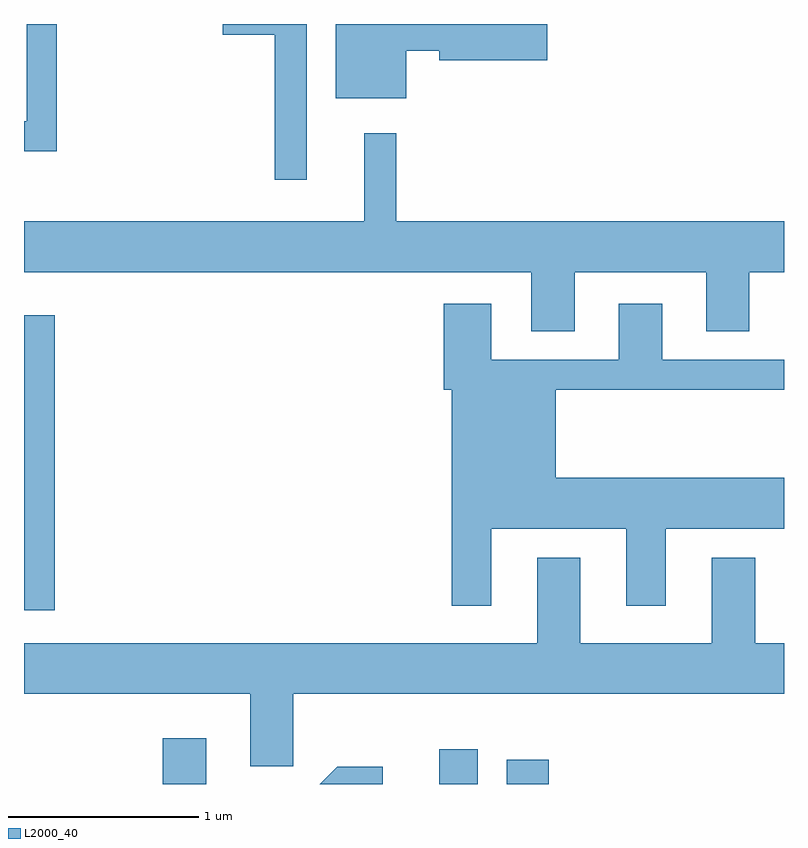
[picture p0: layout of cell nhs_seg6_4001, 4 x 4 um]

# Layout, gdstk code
import gdstk
lib = gdstk.Library(unit=1e-6, precision=1e-09)
def R(c, l, rs):  # rectangles x0, y0, x1, y1
    for r in rs: c.add(gdstk.rectangle(r[:2], r[2:], *l))
def P(c, l, *ps):  # polygons
    for p in ps: c.add(gdstk.Polygon(p, *l))
L2000_40 = (2000, 40)

nhs_seg6_4001 = lib.new_cell('nhs_seg6_4001')
R(nhs_seg6_4001, L2000_40, [(306.341,1616.162,306.569,1616.404), (307.796,1616.162,307.999,1616.344), (308.151,1616.162,308.374,1616.289), (305.611,1617.076,305.774,1618.629)])
P(nhs_seg6_4001, L2000_40, [(307.099,1620.162),(306.656,1620.162),(306.656,1620.106),(306.931,1620.106),(306.931,1619.343),(307.099,1619.343)],
  [(307.624,1620.021),(307.796,1620.021),(307.796,1619.971),(308.364,1619.971),(308.364,1620.162),(307.251,1620.162),(307.251,1619.771),(307.624,1619.771)],
  [(305.784,1620.162),(305.626,1620.162),(305.626,1619.649),(305.611,1619.649),(305.611,1619.491),(305.784,1619.491)],
  [(308.509,1618.856),(309.201,1618.856),(309.201,1618.546),(309.429,1618.546),(309.429,1618.856),(309.611,1618.856),(309.611,1619.124),(307.569,1619.124),(307.569,1619.588),(307.401,1619.588),(307.401,1619.124),(305.611,1619.124),(305.611,1618.856),(308.281,1618.856),(308.281,1618.546),(308.509,1618.546)],
  [(308.069,1617.506),(308.781,1617.506),(308.781,1617.101),(308.989,1617.101),(308.989,1617.506),(309.611,1617.506),(309.611,1617.774),(308.409,1617.774),(308.409,1618.236),(309.611,1618.236),(309.611,1618.394),(308.969,1618.394),(308.969,1618.689),(308.741,1618.689),(308.741,1618.394),(308.069,1618.394),(308.069,1618.689),(307.821,1618.689),(307.821,1618.236),(307.861,1618.236),(307.861,1617.101),(308.069,1617.101)],
  [(307.029,1616.636),(309.611,1616.636),(309.611,1616.904),(309.459,1616.904),(309.459,1617.354),(309.231,1617.354),(309.231,1616.904),(308.539,1616.904),(308.539,1617.354),(308.311,1617.354),(308.311,1616.904),(305.611,1616.904),(305.611,1616.636),(306.801,1616.636),(306.801,1616.256),(307.029,1616.256)],
  [(307.498,1616.254),(307.259,1616.254),(307.167,1616.162),(307.498,1616.162)])

lib.write_gds('nhs_seg6_4001.gds')
